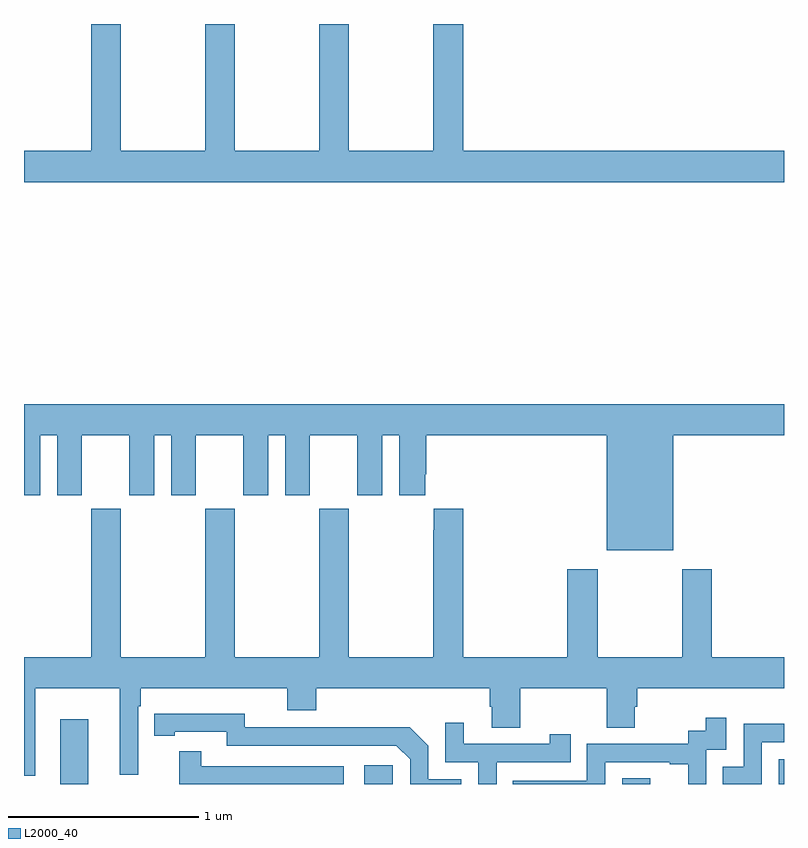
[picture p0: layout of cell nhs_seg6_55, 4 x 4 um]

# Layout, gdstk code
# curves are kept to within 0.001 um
import gdstk
lib = gdstk.Library(unit=1e-6, precision=1e-09)
def R(c, l, rs):  # rectangles x0, y0, x1, y1
    for r in rs: c.add(gdstk.rectangle(r[:2], r[2:], *l))
def P(c, l, *ps):  # polygons
    for p in ps: c.add(gdstk.Polygon(p, *l))
L2000_40 = (2000, 40)

nhs_seg6_55 = lib.new_cell('nhs_seg6_55')
R(nhs_seg6_55, L2000_40, [(113.192,945.5,113.338,945.841), (114.792,945.5,114.942,945.598), (116.148,945.5,116.296,945.529), (116.973,945.5,117,945.63)])
P(nhs_seg6_55, L2000_40, [(117,948.832),(115.313,948.832),(115.313,949.5),(115.157,949.5),(115.157,949.499),(115.153,949.499),(115.153,948.832),(114.708,948.832),(114.708,949.5),(114.553,949.5),(114.553,948.832),(114.108,948.832),(114.108,949.5),(113.953,949.5),(113.953,948.832),(113.508,948.832),(113.508,949.5),(113.353,949.5),(113.353,948.832),(113,948.832),(113,948.668),(117,948.668)],
  [(116.416,947.336),(117,947.336),(117,947.5),(113,947.5),(113,947.019),(113.086,947.019),(113.086,947.336),(113.174,947.336),(113.174,947.019),(113.305,947.019),(113.305,947.336),(113.555,947.336),(113.555,947.019),(113.686,947.019),(113.686,947.336),(113.774,947.336),(113.774,947.019),(113.905,947.019),(113.905,947.336),(114.155,947.336),(114.155,947.019),(114.286,947.019),(114.286,947.336),(114.374,947.336),(114.374,947.019),(114.505,947.019),(114.505,947.336),(114.755,947.336),(114.755,947.019),(114.886,947.019),(114.886,947.336),(114.974,947.336),(114.974,947.019),(115.111,947.019),(115.111,947.131),(115.118,947.131),(115.118,947.336),(116.066,947.336),(116.066,946.73),(116.416,946.73)],
  [(113.059,946.004),(113.504,946.004),(113.504,945.549),(113.601,945.549),(113.601,945.908),(113.615,945.908),(113.615,946.004),(114.386,946.004),(114.386,945.887),(114.539,945.887),(114.539,946.004),(115.451,946.004),(115.451,945.906),(115.463,945.906),(115.463,945.796),(115.611,945.796),(115.611,946.004),(116.068,946.004),(116.068,945.796),(116.215,945.796),(116.215,945.906),(116.228,945.906),(116.228,946.004),(117,946.004),(117,946.168),(116.619,946.168),(116.619,946.63),(116.464,946.63),(116.464,946.168),(116.019,946.168),(116.019,946.63),(115.859,946.63),(115.859,946.168),(115.313,946.168),(115.313,946.948),(115.157,946.948),(115.157,946.835),(115.153,946.835),(115.153,946.168),(114.708,946.168),(114.708,946.948),(114.553,946.948),(114.553,946.168),(114.108,946.168),(114.108,946.948),(113.953,946.948),(113.953,946.168),(113.508,946.168),(113.508,946.948),(113.353,946.948),(113.353,946.168),(113,946.168),(113,945.543),(113.059,945.543)],
  [(115.302,945.525),(115.128,945.525),(115.128,945.702),(115.03,945.8),(114.622,945.8),(114.622,945.798),(114.162,945.798),(114.162,945.871),(113.686,945.87),(113.686,945.754),(113.794,945.754),(113.794,945.774),(114.066,945.774),(114.066,945.702),(114.96,945.702),(115.032,945.63),(115.032,945.5),(115.302,945.5)],
  [(116.058,945.615),(116.399,945.615),(116.399,945.603),(116.495,945.603),(116.495,945.5),(116.592,945.5),(116.592,945.681),(116.697,945.681),(116.697,945.85),(116.589,945.85),(116.589,945.78),(116.496,945.78),(116.496,945.711),(115.962,945.711),(115.962,945.516),(115.573,945.516),(115.573,945.5),(116.058,945.5)],
  [(115.488,945.615),(115.877,945.615),(115.877,945.763),(115.766,945.763),(115.766,945.711),(115.315,945.711),(115.315,945.823),(115.218,945.823),(115.218,945.615),(115.392,945.615),(115.392,945.5),(115.488,945.5)],
  [(116.883,945.72),(117,945.72),(117,945.816),(116.787,945.816),(116.787,945.591),(116.677,945.591),(116.677,945.5),(116.883,945.5)],
  [(114.682,945.594),(113.933,945.594),(113.933,945.673),(113.816,945.673),(113.816,945.5),(114.682,945.5)])

lib.write_gds('nhs_seg6_55.gds')
